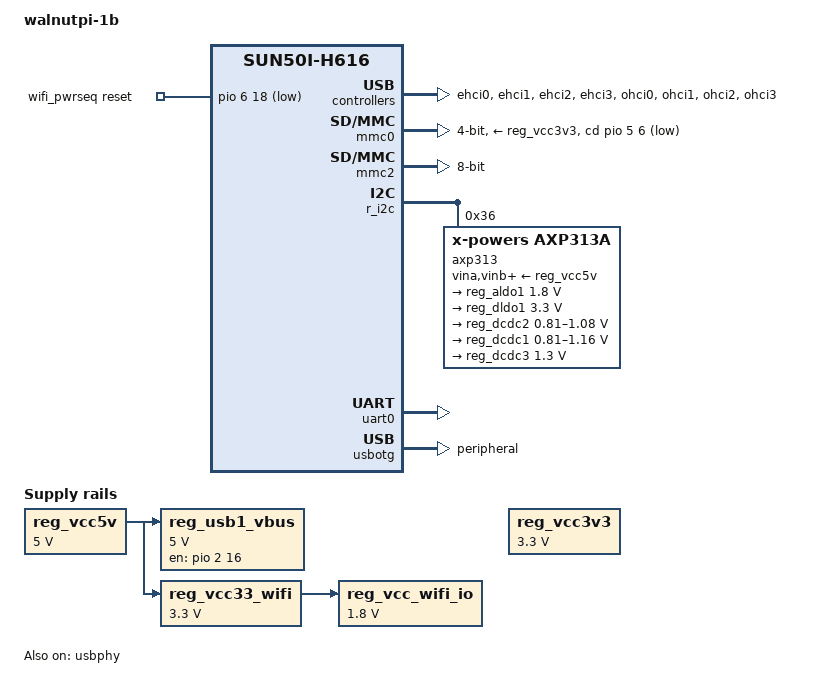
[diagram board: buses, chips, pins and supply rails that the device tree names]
// SPDX-License-Identifier: (GPL-2.0+ or MIT)
/*
 * Copyright (C) 2020 Arm Ltd.
 */

/dts-v1/;

#include "sun50i-h616.dtsi"

#include <dt-bindings/gpio/gpio.h>
#include <dt-bindings/interrupt-controller/arm-gic.h>
#include <dt-bindings/leds/common.h>

/ {
	model = "walnutpi-1b";
	compatible = "allwinner,sun50i-h616";

	aliases {
		serial0 = &uart0;
	};

	chosen {
		stdout-path = "serial0:115200n8";
	};

	reg_vcc5v: vcc5v {
		/* board wide 5V supply directly from the USB-C socket */
		compatible = "regulator-fixed";
		regulator-name = "vcc-5v";
		regulator-min-microvolt = <5000000>;
		regulator-max-microvolt = <5000000>;
		regulator-always-on;
	};

	reg_vcc3v3: vcc3v3 {
		compatible = "regulator-fixed";
		regulator-name = "vcc-3v3";
		regulator-min-microvolt = <3300000>;
		regulator-max-microvolt = <3300000>;
		regulator-always-on;
	};

	reg_usb1_vbus: usb1-vbus {
		compatible = "regulator-fixed";
		regulator-name = "usb1-vbus";
		regulator-min-microvolt = <5000000>;
		regulator-max-microvolt = <5000000>;
		vin-supply = <&reg_vcc5v>;
		enable-active-high;
		gpio = <&pio 2 16 GPIO_ACTIVE_HIGH>; /* PC16 */
		status = "okay";
	};

	reg_vcc33_wifi: vcc33-wifi {
		/* Always on 3.3V regulator for WiFi and BT */
		compatible = "regulator-fixed";
		regulator-name = "vcc33-wifi";
		regulator-min-microvolt = <3300000>;
		regulator-max-microvolt = <3300000>;
		regulator-always-on;
		vin-supply = <&reg_vcc5v>;
	};

	reg_vcc_wifi_io: vcc-wifi-io {
		/* Always on 1.8V/300mA regulator for WiFi and BT IO */
		compatible = "regulator-fixed";
		regulator-name = "vcc-wifi-io";
		regulator-min-microvolt = <1800000>;
		regulator-max-microvolt = <1800000>;
		regulator-always-on;
		vin-supply = <&reg_vcc33_wifi>;
	};

	wifi_pwrseq: wifi-pwrseq {
		compatible = "mmc-pwrseq-simple";
		clocks = <&rtc 1>;
		clock-names = "osc32k-out";
		reset-gpios = <&pio 6 18 GPIO_ACTIVE_LOW>;  /* PG18 */
		post-power-on-delay-ms = <200>;
	};

	gpu_opp_table: opp-table-1 {
		compatible = "operating-points-v2";

		opp-200000000 {
			opp-hz = /bits/ 64 <200000000>;
			opp-microvolt = <1100000>;
		};
		opp-312000000 {
			opp-hz = /bits/ 64 <312000000>;
			opp-microvolt = <1100000>;
		};
		opp-432000000 {
			opp-hz = /bits/ 64 <432000000>;
			opp-microvolt = <1100000>;
		};
		opp-528000000 {
			opp-hz = /bits/ 64 <528000000>;
			opp-microvolt = <1100000>;
		};
		opp-650000000 {
			opp-hz = /bits/ 64 <650000000>;
			opp-microvolt = <1100000>;
		};
	};
};


&usbphy {
	usb1_vbus-supply = <&reg_usb1_vbus>;
	status = "okay";
};



&ehci0 {
	status = "okay";
};

&ehci1 {
	status = "okay";
};

&ehci2 {
	status = "okay";
};

&ehci3 {
	status = "okay";
};

/*------------------------------------*/

&mmc0 {
	vmmc-supply = <&reg_vcc3v3>;
	cd-gpios = <&pio 5 6 GPIO_ACTIVE_LOW>;	/* PF6 */
	bus-width = <4>;
	status = "okay";
};


&mmc2 {
	pinctrl-names = "default";
	pinctrl-0 = <&mmc2_pins>;
	bus-width = <8>;
	status = "okay";
};


&ohci0 {
	status = "okay";
};

&ohci1 {
	status = "okay";
};

&ohci2 {
	status = "okay";
};

&ohci3 {
	status = "okay";
};

&r_i2c {
	status = "okay";

	axp313: pmic@36 {
		compatible = "x-powers,axp313a";
		interrupt-controller;
		#interrupt-cells = <1>;
		reg = <0x36>;

		x-powers,self-working-mode;
		vina-supply = <&reg_vcc5v>;
		vinb-supply = <&reg_vcc5v>;
		vinc-supply = <&reg_vcc5v>;
		vind-supply = <&reg_vcc5v>;
		vine-supply = <&reg_vcc5v>;
		aldoin-supply = <&reg_vcc5v>;
		bldoin-supply = <&reg_vcc5v>;
		cldoin-supply = <&reg_vcc5v>;

		regulators {

			reg_aldo1: aldo1 {
				regulator-always-on;
				regulator-min-microvolt = <1800000>;
				regulator-max-microvolt = <1800000>;
				regulator-name = "vcc1v8";
			};

			/* Supplies VCC-IO, so needs to be always on. */
			reg_dldo1: dldo1 {
				regulator-always-on;
				regulator-min-microvolt = <3300000>;
				regulator-max-microvolt = <3300000>;
				regulator-name = "vcc3v3";
			};


			reg_dcdc2: dcdc2 {
				regulator-always-on;
				regulator-min-microvolt = <810000>;
				regulator-max-microvolt = <1080000>;
				regulator-name = "vdd-cpu";
			};
			
			reg_dcdc1: dcdc1 {
				regulator-always-on;
				regulator-min-microvolt = <810000>;
				regulator-max-microvolt = <1160000>;
				regulator-name = "vdd-gpu-sys";
			};

			reg_dcdc3: dcdc3 {
				regulator-always-on;
				regulator-min-microvolt = <1300000>;
				regulator-max-microvolt = <1300000>;
				regulator-name = "vdd-dram";
			};

	
			sw {
				/* unused */
			};
		};
	};
};

&cpu0 {
        cpu-supply = <&reg_dcdc2>;
};



&uart0 {
	pinctrl-names = "default";
	pinctrl-0 = <&uart0_ph_pins>;
	status = "okay";
};

&usbotg {
	/*
	 * PHY0 pins are connected to a USB-C socket, but a role switch
	 * is not implemented: both CC pins are pulled to GND.
	 * The VBUS pins power the device, so a fixed peripheral mode
	 * is the best choice.
	 * The board can be powered via GPIOs, in this case port0 *can*
	 * act as a host (with a cable/adapter ignoring CC), as VBUS is
	 * then provided by the GPIOs. Any user of this setup would
	 * need to adjust the DT accordingly: dr_mode set to "host",
	 * enabling OHCI0 and EHCI0.
	 */
	dr_mode = "peripheral";
	status = "okay";
};

